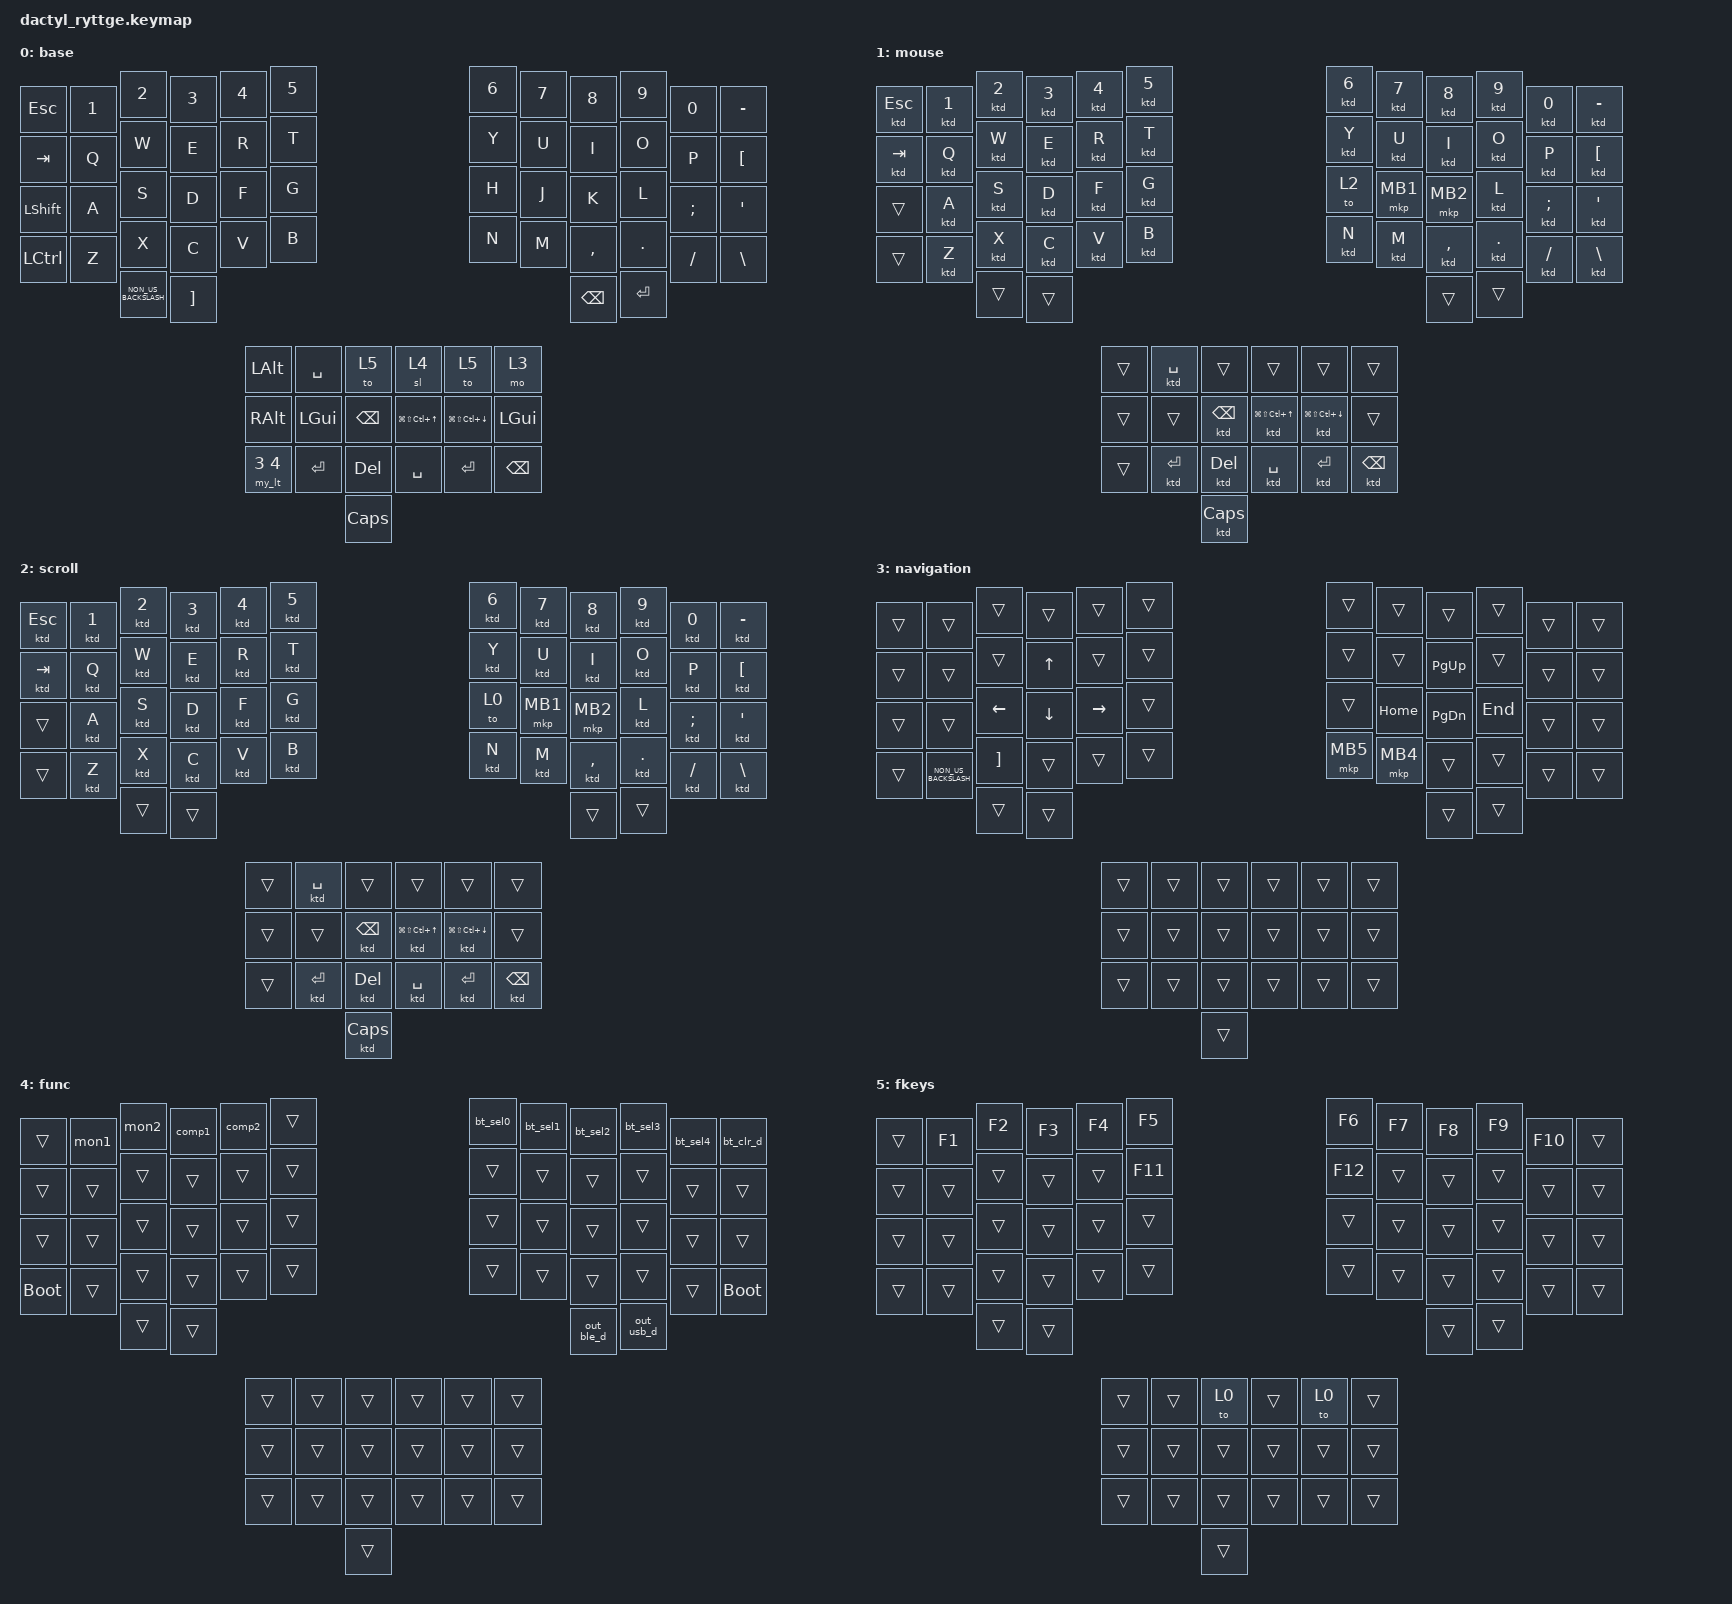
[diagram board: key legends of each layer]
#include <behaviors.dtsi>
#include <dt-bindings/zmk/bt.h>
#include <input/processors.dtsi>
#include <dt-bindings/zmk/keys.h>
#include <dt-bindings/zmk/mouse.h>
#include <dt-bindings/zmk/outputs.h>
#include <dt-bindings/zmk/pointing.h>
#include <dt-bindings/zmk/behaviors.h>
#include <dt-bindings/zmk/input_transform.h>
#include <dt-bindings/zmk/ext_power.h>

// keep all behavior settings for zmk studio
#define ZMK_BEHAVIORS_OMIT_KT

#define DEFAULT 0

#include "common_macros.dtsi"

/*
 * Main body: Charybdis 4x6 block per half, plus A B C D placeholders on the
 * extra keys under the ring and middle columns.
 * Left thumb cluster (positions 1-9 on the 3x3 grid, 0 under 9):
 *   1 ALT   2 SPACE  3 fkeys (&to 5; on the fkeys layer &to 0)
 *   4 RALT  5 GUI    6 BACKSPACE
 *   7 NAV (hold nav, tap sticky func)  8 ENTER  9 DEL
 *   0 CAPS
 * Right thumb cluster (left to right, top to bottom):
 *   1 func (sticky)  2 fkeys (&to 5; on the fkeys layer &to 0)  3 NAV (hold)
 *   4 GUI+Shift+Ctrl+Up  5 GUI+Shift+Ctrl+Down  6 GUI
 *   7 SPACE          8 ENTER           9 BACKSPACE
 */

    &sl {
    release-after-ms = <2000>;
};


/ {
    keymap {
        compatible = "zmk,keymap";

        default_layer {
            display-name = "base";
            bindings = <
              &kp ESC             &kp NUMBER_1        &kp NUMBER_2        &kp NUMBER_3        &kp NUMBER_4        &kp NUMBER_5            &kp NUMBER_6        &kp NUMBER_7        &kp NUMBER_8        &kp NUMBER_9        &kp NUMBER_0        &kp MINUS
              &kp TAB             &kp Q               &kp W               &kp E               &kp R               &kp T                   &kp Y               &kp U               &kp I               &kp O               &kp P               &kp LBKT
              &kp LSHIFT          &kp A               &kp S               &kp D               &kp F               &kp G                   &kp H               &kp J               &kp K               &kp L               &kp SEMICOLON       &kp SINGLE_QUOTE
              &kp LCTRL           &kp Z               &kp X               &kp C               &kp V               &kp B                   &kp N               &kp M               &kp COMMA           &kp PERIOD          &kp SLASH           &kp BACKSLASH
              // extra keys under ring/middle: left ring, left middle, right middle, right ring
                                                      &kp NON_US_BACKSLASH  &kp RBKT                                                                                                   &kp BACKSPACE              &kp ENTER
              // left thumb cluster (3x3 grid plus one key under the last column)
              &kp LALT            &kp SPACE           &to 5
              &kp RALT            &kp LGUI            &kp BACKSPACE
              &my_lt 3 4          &kp ENTER           &kp DEL
                                                      &kp CAPS
              // right thumb cluster (3 rows x 3), left to right as on the board
              &sl 4               &to 5               &mo 3
              &kp LG(LS(LC(UP)))      &kp LG(LS(LC(DOWN)))    &kp LGUI
              &kp SPACE           &kp ENTER           &kp BACKSPACE
            >;
        };

        mouse_layer {
            display-name = "mouse";
            bindings = <
              &ktd ESC            &ktd N1             &ktd N2             &ktd N3             &ktd N4             &ktd N5                 &ktd N6             &ktd N7             &ktd N8             &ktd N9             &ktd N0             &ktd MINUS
              &ktd TAB            &ktd Q              &ktd W              &ktd E              &ktd R              &ktd T                  &ktd Y              &ktd U              &ktd I              &ktd O              &ktd P              &ktd LBKT
              &trans              &ktd A              &ktd S              &ktd D              &ktd F              &ktd G                  &to 2               &mkp MB1            &mkp MB2            &ktd L              &ktd SEMICOLON      &ktd SINGLE_QUOTE
              &trans              &ktd Z              &ktd X              &ktd C              &ktd V              &ktd B                  &ktd N              &ktd M              &ktd COMMA          &ktd PERIOD         &ktd SLASH          &ktd BACKSLASH
              // extra keys under ring/middle: left ring, left middle, right middle, right ring
                                                      &trans              &trans                                                                                                  &trans              &trans
              // left thumb cluster (3x3 grid plus one key under the last column)
              &trans              &ktd SPACE          &trans
              &trans              &trans              &ktd BACKSPACE
              &trans              &ktd ENTER          &ktd DEL
                                                      &ktd CAPS
              // right thumb cluster (3 rows x 3), left to right as on the board
              &trans              &trans              &trans
              &ktd LG(LS(LC(UP)))     &ktd LG(LS(LC(DOWN)))   &trans
              &ktd SPACE          &ktd ENTER          &ktd BACKSPACE
            >;
        };

        scroll_layer {
            display-name = "scroll";
            bindings = <
              &ktd ESC            &ktd N1             &ktd N2             &ktd N3             &ktd N4             &ktd N5                 &ktd N6             &ktd N7             &ktd N8             &ktd N9             &ktd N0             &ktd MINUS
              &ktd TAB            &ktd Q              &ktd W              &ktd E              &ktd R              &ktd T                  &ktd Y              &ktd U              &ktd I              &ktd O              &ktd P              &ktd LBKT
              &trans              &ktd A              &ktd S              &ktd D              &ktd F              &ktd G                  &to 0               &mkp MB1            &mkp MB2            &ktd L              &ktd SEMICOLON      &ktd SINGLE_QUOTE
              &trans              &ktd Z              &ktd X              &ktd C              &ktd V              &ktd B                  &ktd N              &ktd M              &ktd COMMA          &ktd PERIOD         &ktd SLASH          &ktd BACKSLASH
              // extra keys under ring/middle: left ring, left middle, right middle, right ring
                                                      &trans              &trans                                                                                                  &trans              &trans
              // left thumb cluster (3x3 grid plus one key under the last column)
              &trans              &ktd SPACE          &trans
              &trans              &trans              &ktd BACKSPACE
              &trans              &ktd ENTER          &ktd DEL
                                                      &ktd CAPS
              // right thumb cluster (3 rows x 3), left to right as on the board
              &trans              &trans              &trans
              &ktd LG(LS(LC(UP)))     &ktd LG(LS(LC(DOWN)))   &trans
              &ktd SPACE          &ktd ENTER          &ktd BACKSPACE
            >;
        };

        navigation_layer {
            display-name = "navigation";
            bindings = <
              &trans              &trans              &trans              &trans              &trans              &trans                  &trans              &trans              &trans              &trans              &trans              &trans
              &trans              &trans              &trans              &kp UP              &trans              &trans                  &trans              &trans              &kp PAGE_UP         &trans              &trans              &trans
              &trans              &trans              &kp LEFT            &kp DOWN            &kp RIGHT           &trans                  &trans              &kp HOME            &kp PAGE_DOWN       &kp END             &trans              &trans
              &trans              &kp NON_US_BACKSLASH  &kp RBKT            &trans              &trans              &trans                  &mkp MB5            &mkp MB4            &trans              &trans              &trans              &trans
              // extra keys under ring/middle: left ring, left middle, right middle, right ring
                                                      &trans              &trans                                                                                                  &trans              &trans
              // left thumb cluster (3x3 grid plus one key under the last column)
              &trans              &trans              &trans
              &trans              &trans              &trans
              &trans              &trans              &trans
                                                      &trans
              // right thumb cluster (3 rows x 3), left to right as on the board
              &trans              &trans              &trans
              &trans              &trans              &trans
              &trans              &trans              &trans
            >;
        };

        function_layer {
            display-name = "func";
            bindings = <
              &trans              &mon1               &mon2               &comp1              &comp2              &trans                  &bt_sel0            &bt_sel1            &bt_sel2            &bt_sel3            &bt_sel4            &bt_clr_d
              &trans              &trans              &trans              &trans              &trans              &trans                  &trans              &trans              &trans              &trans              &trans              &trans
              &trans              &trans              &trans              &trans              &trans              &trans                  &trans              &trans              &trans              &trans              &trans              &trans
              &bootloader         &trans              &trans              &trans              &trans              &trans                  &trans              &trans              &trans              &trans              &trans              &bootloader
              // extra keys under ring/middle: left ring, left middle, right middle, right ring
                                                      &trans              &trans                                                                                                  &out_ble_d             &out_usb_d
              // left thumb cluster (3x3 grid plus one key under the last column)
              &trans              &trans              &trans
              &trans              &trans              &trans
              &trans              &trans              &trans
                                                      &trans
              // right thumb cluster (3 rows x 3), left to right as on the board
              &trans              &trans              &trans
              &trans              &trans              &trans
              &trans              &trans              &trans
            >;
        };

        fkeys_layer {
            display-name = "fkeys";
            bindings = <
              &trans              &kp F1              &kp F2              &kp F3              &kp F4              &kp F5                  &kp F6              &kp F7              &kp F8              &kp F9              &kp F10             &trans
              &trans              &trans              &trans              &trans              &trans              &kp F11                 &kp F12             &trans              &trans              &trans              &trans              &trans
              &trans              &trans              &trans              &trans              &trans              &trans                  &trans              &trans              &trans              &trans              &trans              &trans
              &trans              &trans              &trans              &trans              &trans              &trans                  &trans              &trans              &trans              &trans              &trans              &trans
              // extra keys under ring/middle: left ring, left middle, right middle, right ring
                                                      &trans              &trans                                                                                                  &trans              &trans
              // left thumb cluster (3x3 grid plus one key under the last column)
              &trans              &trans              &to 0
              &trans              &trans              &trans
              &trans              &trans              &trans
                                                      &trans
              // right thumb cluster (3 rows x 3), left to right as on the board
              &trans              &to 0               &trans
              &trans              &trans              &trans
              &trans              &trans              &trans
            >;
        };

        extra1 {
                status = "reserved";
            };

        extra2 {
                status = "reserved";
            };
    };
};
